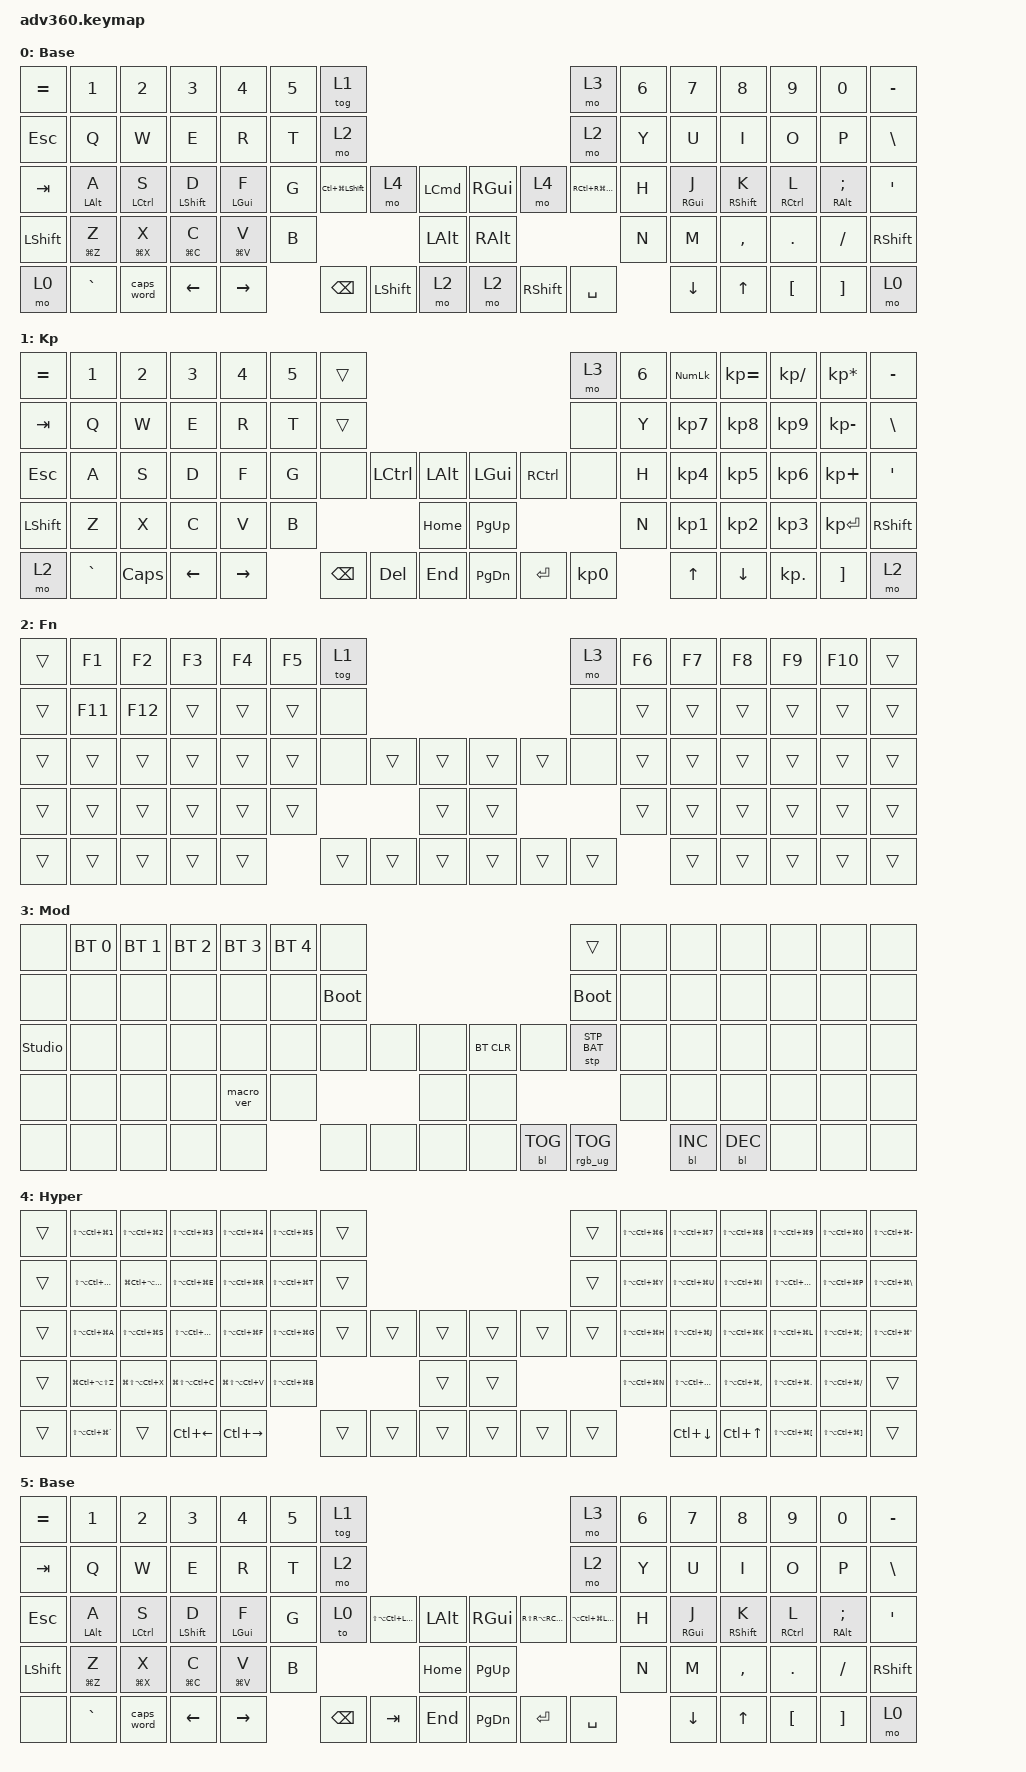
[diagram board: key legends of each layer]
#include <dt-bindings/zmk/stp.h>
#include <behaviors.dtsi>
#include <dt-bindings/zmk/backlight.h>
#include <dt-bindings/zmk/bt.h>
#include <dt-bindings/zmk/keys.h>
#include <dt-bindings/zmk/rgb.h>

&lt { quick-tap-ms = <150>; };

/ {
    behaviors {
        #include "macros.dtsi"
      #include "version.dtsi"

        hm: homerow_mods {
            compatible = "zmk,behavior-hold-tap";
            label = "HOMEROW_MODS";
            #binding-cells = <2>;
            tapping-term-ms = <250>;
            quick_tap_ms = <175>;
            flavor = "tap-preferred";
            bindings = <&kp>, <&kp>;

            quick-tap-ms = <200>;
            hold-trigger-on-release;
        };

        default_mt: default_mt {
            compatible = "zmk,behavior-hold-tap";
            label = "DEFAULT_MT";
            #binding-cells = <2>;
            tapping-term-ms = <250>;
            quick_tap_ms = <175>;
            flavor = "tap-preferred";
            bindings = <&kp>, <&kp>;

            quick-tap-ms = <200>;
        };
    };

    combos {
        compatible = "zmk,combos";

        Enter {
            bindings = <&kp ENTER>;
            key-positions = <24 25>;
            timeout-ms = <30>;
        };

        Escape {
            bindings = <&kp ESCAPE>;
            key-positions = <17 16>;
            timeout-ms = <30>;
        };
    };

    keymap {
        compatible = "zmk,keymap";

        default_layer {
            display-name = "Base";
            bindings = <
&kp EQUAL   &kp N1               &kp N2               &kp N3               &kp N4               &kp N5  &tog 1                                                                                   &mo 3                    &kp N6  &kp N7          &kp N8        &kp N9       &kp N0              &kp MINUS
&kp ESCAPE  &kp Q                &kp W                &kp E                &kp R                &kp T   &mo 2                                                                                    &mo 2                    &kp Y   &kp U           &kp I         &kp O        &kp P               &kp BSLH
&kp TAB     &hm LALT A           &hm LCTRL S          &hm LSHFT D          &hm LEFT_GUI F       &kp G   &kp LC(LG(LSHFT))  &mo 4           &kp LEFT_COMMAND      &kp RGUI       &mo 4            &kp RC(RG(RIGHT_SHIFT))  &kp H   &hm RGUI J      &hm RSHFT K   &hm RCTRL L  &hm RALT SEMICOLON  &kp SQT
&kp LSHFT   &default_mt LG(Z) Z  &default_mt LG(X) X  &default_mt LG(C) C  &default_mt LG(V) V  &kp B                                      &kp LEFT_ALT          &kp RIGHT_ALT                                            &kp N   &kp M           &kp COMMA     &kp DOT      &kp FSLH            &kp RSHFT
&mo 0       &kp GRAVE            &caps_word           &kp LEFT             &kp RIGHT                    &kp BACKSPACE      &kp LEFT_SHIFT  &mo 2                 &mo 2          &kp RIGHT_SHIFT  &kp SPACE                        &kp DOWN_ARROW  &kp UP_ARROW  &kp LBKT     &kp RBKT            &mo 0
            >;
        };

        keypad {
            display-name = "Kp";
            bindings = <
&kp EQUAL  &kp N1     &kp N2    &kp N3    &kp N4     &kp N5  &trans                                                   &mo 3      &kp N6  &kp KP_NUM  &kp KP_EQUAL  &kp KP_DIVIDE  &kp KP_MULTIPLY  &kp MINUS
&kp TAB    &kp Q      &kp W     &kp E     &kp R      &kp T   &trans                                                   &none      &kp Y   &kp KP_N7   &kp KP_N8     &kp KP_N9      &kp KP_MINUS     &kp BSLH
&kp ESC    &kp A      &kp S     &kp D     &kp F      &kp G   &none     &kp LCTRL  &kp LALT      &kp LGUI   &kp RCTRL  &none      &kp H   &kp KP_N4   &kp KP_N5     &kp KP_N6      &kp KP_PLUS      &kp SQT
&kp LSHFT  &kp Z      &kp X     &kp C     &kp V      &kp B                        &kp HOME      &kp PG_UP                        &kp N   &kp KP_N1   &kp KP_N2     &kp KP_N3      &kp KP_ENTER     &kp RSHFT
&mo 2      &kp GRAVE  &kp CAPS  &kp LEFT  &kp RIGHT          &kp BSPC  &kp DEL    &kp END       &kp PG_DN  &kp ENTER  &kp KP_N0          &kp UP      &kp DOWN      &kp KP_DOT     &kp RBKT         &mo 2
            >;
        };

        fn {
            display-name = "Fn";
            bindings = <
&trans  &kp F1   &kp F2   &kp F3  &kp F4  &kp F5  &tog 1                                      &mo 3   &kp F6  &kp F7  &kp F8  &kp F9  &kp F10  &trans
&trans  &kp F11  &kp F12  &trans  &trans  &trans  &none                                       &none   &trans  &trans  &trans  &trans  &trans   &trans
&trans  &trans   &trans   &trans  &trans  &trans  &none   &trans  &trans      &trans  &trans  &none   &trans  &trans  &trans  &trans  &trans   &trans
&trans  &trans   &trans   &trans  &trans  &trans                  &trans      &trans                  &trans  &trans  &trans  &trans  &trans   &trans
&trans  &trans   &trans   &trans  &trans          &trans  &trans  &trans      &trans  &trans  &trans          &trans  &trans  &trans  &trans   &trans
            >;
        };

        mod {
            display-name = "Mod";
            bindings = <
&none           &bt BT_SEL 0  &bt BT_SEL 1  &bt BT_SEL 2  &bt BT_SEL 3  &bt BT_SEL 4  &none                                                  &trans           &none  &none       &none       &none  &none  &none
&none           &none         &none         &none         &none         &none         &bootloader                                            &bootloader      &none  &none       &none       &none  &none  &none
&studio_unlock  &none         &none         &none         &none         &none         &none        &none  &none      &bt BT_CLR  &none       &stp STP_BAT     &none  &none       &none       &none  &none  &none
&none           &none         &none         &none         &macro_ver    &none                             &none      &none                                    &none  &none       &none       &none  &none  &none
&none           &none         &none         &none         &none                       &none        &none  &none      &none       &bl BL_TOG  &rgb_ug RGB_TOG         &bl BL_INC  &bl BL_DEC  &none  &none  &none
            >;
        };

        Hyper {
            display-name = "Hyper";
            bindings = <
&trans  &kp LS(LA(LC(LG(N1))))     &kp LS(LA(LC(LG(N2))))  &kp LS(LA(LC(LG(N3))))     &kp LS(LA(LC(LG(N4))))  &kp LS(LA(LC(LG(N5))))  &trans                                      &trans  &kp LS(LA(LC(LG(N6))))  &kp LS(LA(LC(LG(N7))))  &kp LS(LA(LC(LG(N8))))     &kp LS(LA(LC(LG(N9))))    &kp LS(LA(LC(LG(N0))))         &kp LS(LA(LC(LG(MINUS))))
&trans  &kp LS(LA(LC(LG(Q))))      &kp LG(LC(LA(LS(W))))   &kp LS(LA(LC(LG(E))))      &kp LS(LA(LC(LG(R))))   &kp LS(LA(LC(LG(T))))   &trans                                      &trans  &kp LS(LA(LC(LG(Y))))   &kp LS(LA(LC(LG(U))))   &kp LS(LA(LC(LG(I))))      &kp LS(LA(LC(LG(O))))     &kp LS(LA(LC(LG(P))))          &kp LS(LA(LC(LG(BSLH))))
&trans  &kp LS(LA(LC(LG(A))))      &kp LS(LA(LC(LG(S))))   &kp LS(LA(LC(LG(LSHFT))))  &kp LS(LA(LC(LG(F))))   &kp LS(LA(LC(LG(G))))   &trans  &trans  &trans      &trans  &trans  &trans  &kp LS(LA(LC(LG(H))))   &kp LS(LA(LC(LG(J))))   &kp LS(LA(LC(LG(K))))      &kp LS(LA(LC(LG(L))))     &kp LS(LA(LC(LG(SEMICOLON))))  &kp LS(LA(LC(LG(SQT))))
&trans  &kp LG(LC(LA(LS(Z))))      &kp LG(LS(LA(LC(X))))   &kp LG(LS(LA(LC(C))))      &kp LG(LS(LA(LC(V))))   &kp LS(LA(LC(LG(B))))                   &trans      &trans                  &kp LS(LA(LC(LG(N))))   &kp LS(LA(LC(LG(M))))   &kp LS(LA(LC(LG(COMMA))))  &kp LS(LA(LC(LG(DOT))))   &kp LS(LA(LC(LG(FSLH))))       &trans
&trans  &kp LS(LA(LC(LG(GRAVE))))  &trans                  &kp LC(LEFT)               &kp LC(RIGHT)                                   &trans  &trans  &trans      &trans  &trans  &trans                          &kp LC(DOWN_ARROW)      &kp LC(UP_ARROW)           &kp LS(LA(LC(LG(LBKT))))  &kp LS(LA(LC(LG(RBKT))))       &trans
            >;
        };

        BaseAlt {
            display-name = "Base";
            bindings = <
&kp EQUAL   &kp N1               &kp N2               &kp N3               &kp N4               &kp N5  &tog 1                                                                                  &mo 3                   &kp N6  &kp N7          &kp N8        &kp N9       &kp N0              &kp MINUS
&kp TAB     &kp Q                &kp W                &kp E                &kp R                &kp T   &mo 2                                                                                   &mo 2                   &kp Y   &kp U           &kp I         &kp O        &kp P               &kp BSLH
&kp ESCAPE  &hm LALT A           &hm LCTRL S          &hm LSHFT D          &hm LEFT_GUI F       &kp G   &to 0          &kp LS(LA(LC(LGUI)))  &kp LALT      &kp RGUI       &kp RS(RA(RC(RGUI)))  &kp LA(LC(LG(LSHIFT)))  &kp H   &hm RGUI J      &hm RSHFT K   &hm RCTRL L  &hm RALT SEMICOLON  &kp SQT
&kp LSHFT   &default_mt LG(Z) Z  &default_mt LG(X) X  &default_mt LG(C) C  &default_mt LG(V) V  &kp B                                        &kp HOME      &kp PAGE_UP                                                  &kp N   &kp M           &kp COMMA     &kp DOT      &kp FSLH            &kp RSHFT
&none       &kp GRAVE            &caps_word           &kp LEFT             &kp RIGHT                    &kp BACKSPACE  &kp TAB               &kp END       &kp PAGE_DOWN  &kp ENTER             &kp SPACE                       &kp DOWN_ARROW  &kp UP_ARROW  &kp LBKT     &kp RBKT            &mo 0
            >;
        };

        extra1 {
            display-name = "Red";
            status = "reserved";
        };

        extra2 {
            display-name = "Purple";
            status = "reserved";
        };

        extra3 {
            display-name = "Cyan";
            status = "reserved";
        };
    };
};
